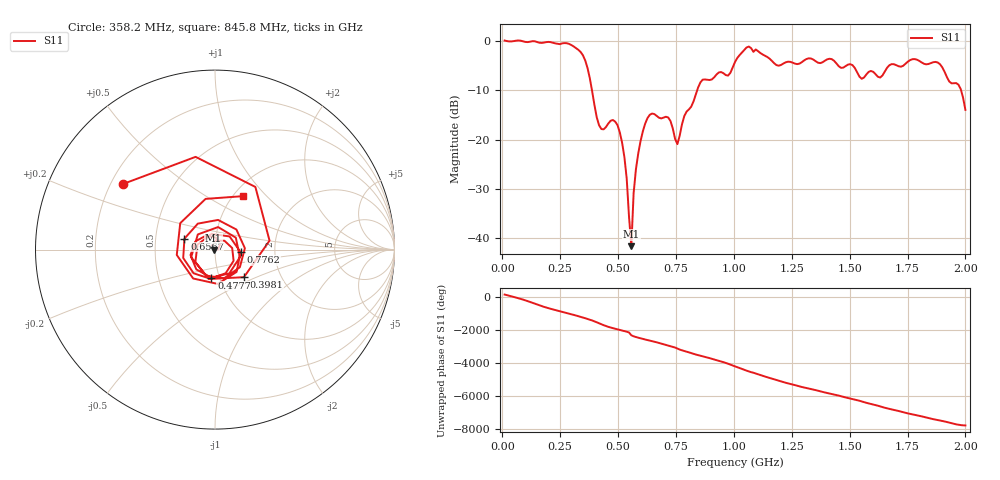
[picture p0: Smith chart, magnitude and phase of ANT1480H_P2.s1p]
!Created with skrf (http://scikit-rf.org).
# Hz S RI R 50.0
!freq ReS11 ImS11
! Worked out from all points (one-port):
!   201 points, 10 MHz to 2 GHz, reference 50 ohm
!   lowest |S11| = -41.6 dB at 557.2 MHz (marker M1), VSWR 1.02, Z = 49.2 - j0.156 ohm
!   |S11| at or under -10 dB: 387.2 MHz to 841.9 MHz (454.6 MHz wide, 74 % of centre); 1.981 GHz to end of sweep
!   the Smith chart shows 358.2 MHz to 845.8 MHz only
!   S11 on the Smith chart (normalised r, x): 358.2 MHz: 0.25, +0.30; 398.1 MHz: 1.31, -0.42; 477.6 MHz: 0.92, -0.29; 656.8 MHz: 0.70, +0.09; 776.1 MHz: 1.33, -0.04; 845.8 MHz: 1.11, +0.75
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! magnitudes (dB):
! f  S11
! 10 MHz  0.0
! 258.8 MHz  -0.5
! 358.2 MHz  -4.0
! 398.1 MHz  -13.0
! 427.9 MHz  -17.9
! 477.6 MHz  -16.0
! 507.5 MHz  -18.6
! 537.4 MHz  -27.9
! 557.2 MHz  -41.6
! 567.2 MHz  -30.9
! 587.1 MHz  -22.8
! 617 MHz  -16.8
! 656.8 MHz  -14.9
! 716.5 MHz  -15.5
! 756.2 MHz  -20.9
! 776.1 MHz  -16.9
! 845.8 MHz  -9.5
! 975.1 MHz  -7.1
! 1.005 GHz  -4.3
! 1.065 GHz  -1.2
! 1.184 GHz  -4.9
! 1.254 GHz  -4.4
! 1.502 GHz  -4.7
! 1.552 GHz  -7.7
! 1.751 GHz  -4.2
! 1.891 GHz  -4.8
! 1.97 GHz  -8.9
! 2 GHz  -14.0
